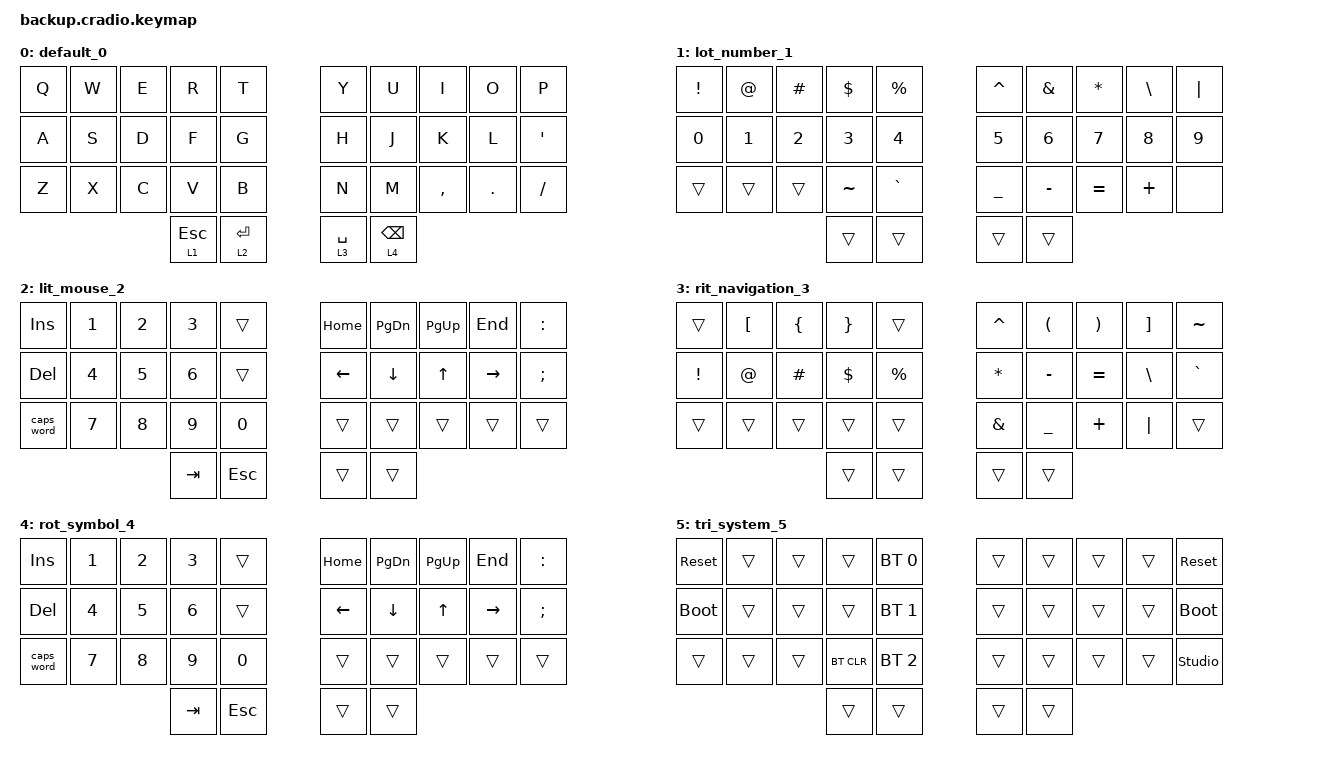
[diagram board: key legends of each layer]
// Copyright (c) 2022 The ZMK Contributors
// SPDX-License-Identifier: MIT

/*
Layers
Default
lot - number
lit - mouse
rit - navigation
rot - symbol
*/

#include <behaviors.dtsi>
#include <dt-bindings/zmk/keys.h>
#include <dt-bindings/zmk/bt.h>

// Home row mods macro
/* #define HRML(k1,k2,k3,k4) &ht LSHFT k1  &ht LALT  k2  &ht LCTRL k3  &ht LGUI  k4 */
/* #define HRMR(k1,k2,k3,k4) &ht RGUI  k1  &ht RCTRL k2  &ht RALT  k3  &ht RSHFT k4 */
#define HRML(k1,k2,k3,k4) &ht LGUI k1 &ht LALT k2  &ht LCTRL k3  &ht LSHFT k4
#define HRMR(k1,k2,k3,k4) &ht LGUI k1 &ht LALT k2  &ht LCTRL k3  &ht LSHFT k4

/ {
    combos {
        compatible = "zmk,combos";
        /* Brackets */
        left_square_bracket_combo {
            timeout-ms = <50>;
            key-positions = <6 7>;
            bindings = <&kp LBKT>;
        };
        left_bracket_combo {
            timeout-ms = <50>;
            key-positions = <16 17>;
            bindings = <&kp KP_LPAR>;
        };
        left_curly_bracket_combo {
            timeout-ms = <50>;
            key-positions = <26 27>;
            bindings = <&kp LBRC>;
        };
        left_angle_bracket_combo {
            timeout-ms = <50>;
            key-positions = <17 26>;
            bindings = <&kp LESS_THAN>;
        };

        right_square_bracket_combo {
            timeout-ms = <50>;
            key-positions = <7 8>;
            bindings = <&kp RBKT>;
        };
        right_bracket_combo {
            timeout-ms = <50>;
            key-positions = <17 18>;
            bindings = <&kp KP_RPAR>;
        };
        right_curly_bracket_combo {
            timeout-ms = <50>;
            key-positions = <27 28>;
            bindings = <&kp RBRC>;
        };
        right_angle_bracket_combo {
            timeout-ms = <50>;
            key-positions = <17 28>;
            bindings = <&kp LBRC>;
        };
        /* Other */
        esc_combo {
            timeout-ms = <50>;
            key-positions = <17 28>;
            bindings = <&kp LBRC>;
        };
        tab_combo {
            timeout-ms = <50>;
            key-positions = <17 28>;
            bindings = <&kp LBRC>;
        };

    };
    behaviors {
        ht: hold_tap {
            compatible = "zmk,behavior-hold-tap";
            #binding-cells = <2>;
            flavor = "tap-preferred";
            tapping-term-ms = <220>;
            quick-tap-ms = <150>;
            require-prior-idle-ms = <100>;
            bindings = <&kp>, <&kp>;
        };
        td_tab: tap_dance_0 {
            compatible = "zmk,behavior-tap-dance";
            #binding-cells = <0>;
            tapping-term-ms = <200>;
            bindings = <&kp V>, <&kp TAB>;
        };
    };

    conditional_layers {
        compatible = "zmk,conditional-layers";
        tri_system_5 { if-layers = <1 4>;
            then-layer = <5>;
        };
    };

            /* HRML(A,        S,         D,         F)     &kp G          &kp H      HRMR(J,        K,         L,        SQT) */
    keymap {
        compatible = "zmk,keymap";
        default_0 {
            bindings = <
        //╭──────────┬──────────┬──────────┬──────────┬──────────╮   ╭──────────┬──────────┬──────────┬──────────┬──────────╮
        //│  Q       │  W       │  E       │  R       │  T       │   │  Y       │  U       │  I       │  O       │  P       │
            &kp Q      &kp W      &kp E      &kp R      &kp T          &kp Y      &kp U      &kp I      &kp O      &kp P
        //├──────────┼──────────┼──────────┼──────────┼──────────┤   ├──────────┼──────────┼──────────┼──────────┼──────────┤
        //│  A       │  S       │  D       │  F       │  G       │   │  H       │  J       │  K       │  L       │ ' "      │
            &kp A      &kp S      &kp D      &kp F      &kp G          &kp H      &kp J      &kp K      &kp L      &kp SQT 
        //├──────────┼──────────┼──────────┼──────────┼──────────┤   ├──────────┼──────────┼──────────┼──────────┼──────────┤
        //│  Z       │  X       │  C       │  V       │  B       │   │  N       │  M       │ , <      │ . >      │ / ?      │
            &kp Z      &kp X      &kp C      &kp V      &kp B          &kp N      &kp M      &kp COMMA  &kp DOT    &kp FSLH
        //╰──────────┴──────────┴──────────┼──────────┼──────────┤   ├──────────┼──────────┼──────────┴──────────┴──────────╯
                                            &lt 1 ESC  &lt 2 ENTER    &lt 3 SPACE  &lt 4 BSPC
        //                                 ╰──────────┴──────────╯   ╰──────────┴──────────╯
            >;
        };

        lot_number_1 {
            bindings = <
        //╭──────────┬──────────┬──────────┬──────────┬──────────╮   ╭──────────┬──────────┬──────────┬──────────┬──────────╮
        //│  !       │  @       │  #       │  $       │  %       │   │  ^       │  &       │  *       │  \       │  |       │
            &kp EXCL   &kp AT     &kp HASH   &kp DLLR   &kp PRCNT      &kp CARET  &kp AMPS  &kp MULTIPLY &kp BSLH   &kp PIPE
        //├──────────┼──────────┼──────────┼──────────┼──────────┤   ├──────────┼──────────┼──────────┼──────────┼──────────┤
        //│  0       │  1       │  2       │  3       │  4       │   │  5       │  6       │  7       │  8       │  9       │
            &kp 0      &kp 1      &kp 2      &kp 3      &kp 4          &kp 5       &kp 6      &kp 7      &kp 8      &kp 9
        //├──────────┼──────────┼──────────┼──────────┼──────────┤   ├──────────┼──────────┼──────────┼──────────┼──────────┤
        //│          │          │          │ ~        │ `        │   │  _       │  -       │  =       │  +       │  XXX     │
            &trans     &trans     &trans     &kp TILDE    &kp GRAVE     &kp UNDER  &kp MINUS  &kp EQUAL  &kp PLUS   &none
        //╰──────────┴──────────┴──────────┼──────────┼──────────┤   ├──────────┼──────────┼──────────┴──────────┴──────────╯
                                             &trans     &trans         &trans     &trans
        //                                 ╰──────────┴──────────╯   ╰──────────┴──────────╯
            >;
        };


        lit_mouse_2 {
            bindings = <
        //╭──────────┬──────────┬──────────┬──────────┬──────────╮   ╭──────────┬──────────┬──────────┬──────────┬──────────╮
        //│ INSERT   │  1       │  2       │  3       │          │   │ HOME     │ PAGE DN  │ PAGE UP  │ END      │  :       │
            &kp INS    &kp N1     &kp N2     &kp N3     &trans         &kp HOME   &kp PG_DN  &kp PG_UP  &kp END    &kp COLON
        //├──────────┼──────────┼──────────┼──────────┼──────────┤   ├──────────┼──────────┼──────────┼──────────┼──────────┤
        //│ DELETE   │  4       │  5       │  6       │          │   │ LEFT     │ DOWN     │ UP       │ RIGHT    │  ;       │
            &kp DEL    &kp N4     &kp N5     &kp N6     &trans         &kp LEFT   &kp DOWN   &kp UP   &kp RIGHT   &kp SEMI
        //├──────────┼──────────┼──────────┼──────────┼──────────┤   ├──────────┼──────────┼──────────┼──────────┼──────────┤
        //│ CAPS     │  7       │  8       │  9       │  0       │   │          │          │          │          │          │
           &caps_word  &kp N7     &kp N8     &kp N9     &kp N0         &trans     &trans     &trans     &trans     &trans
        //╰──────────┴──────────┴──────────┼──────────┼──────────┤   ├──────────┼──────────┼──────────┴──────────┴──────────╯
                                             &kp TAB       &kp ESC        &trans     &trans
        //                                 ╰──────────┴──────────╯   ╰──────────┴──────────╯
            >;
        };

        rit_navigation_3{
            bindings = <
        //╭──────────┬──────────┬──────────┬──────────┬──────────╮   ╭──────────┬──────────┬──────────┬──────────┬──────────╮
        //│          │  [       │  {       │  }       │          │   │  ^       │  (       │  )       │  ]       │  ~       │
            &trans     &kp LBKT   &kp LBRC   &kp RBRC   &trans         &kp CARET  &kp LPAR   &kp RPAR   &kp RBKT   &kp TILDE
        //├──────────┼──────────┼──────────┼──────────┼──────────┤   ├──────────┼──────────┼──────────┼──────────┼──────────┤
        //│  !       │  @       │  #       │  $       │  %       │   │  *       │  -       │  =       │  \       │  `       │
            &kp EXCL   &kp AT     &kp HASH   &kp DLLR   &kp PRCNT      &kp ASTRK  &kp MINUS  &kp EQUAL  &kp BSLH   &kp GRAVE
        //├──────────┼──────────┼──────────┼──────────┼──────────┤   ├──────────┼──────────┼──────────┼──────────┼──────────┤
        //│          │          │          │          │          │   │  &       │  _       │  +       │  │       │          │
            &trans     &trans     &trans     &trans     &trans         &kp AMPS   &kp UNDER  &kp PLUS   &kp PIPE   &trans
        //╰──────────┴──────────┴──────────┼──────────┼──────────┤   ├──────────┼──────────┼──────────┴──────────┴──────────╯
                                             &trans     &trans         &trans     &trans
        //                                 ╰──────────┴──────────╯   ╰──────────┴──────────╯
            >;
        };



        rot_symbol_4{
            bindings = <
        //╭──────────┬──────────┬──────────┬──────────┬──────────╮   ╭──────────┬──────────┬──────────┬──────────┬──────────╮
        //│ INSERT   │  1       │  2       │  3       │          │   │ HOME     │ PAGE DN  │ PAGE UP  │ END      │  :       │
            &kp INS    &kp N1     &kp N2     &kp N3     &trans         &kp HOME   &kp PG_DN  &kp PG_UP  &kp END    &kp COLON
        //├──────────┼──────────┼──────────┼──────────┼──────────┤   ├──────────┼──────────┼──────────┼──────────┼──────────┤
        //│ DELETE   │  4       │  5       │  6       │          │   │ LEFT     │ DOWN     │ UP       │ RIGHT    │  ;       │
            &kp DEL    &kp N4     &kp N5     &kp N6     &trans         &kp LEFT   &kp DOWN   &kp UP   &kp RIGHT   &kp SEMI
        //├──────────┼──────────┼──────────┼──────────┼──────────┤   ├──────────┼──────────┼──────────┼──────────┼──────────┤
        //│ CAPS     │  7       │  8       │  9       │  0       │   │          │          │          │          │          │
           &caps_word  &kp N7     &kp N8     &kp N9     &kp N0         &trans     &trans     &trans     &trans     &trans
        //╰──────────┴──────────┴──────────┼──────────┼──────────┤   ├──────────┼──────────┼──────────┴──────────┴──────────╯
                                             &kp TAB       &kp ESC        &trans     &trans
        //                                 ╰──────────┴──────────╯   ╰──────────┴──────────╯
            >;
        };

        tri_system_5{
            bindings = <
        //╭──────────┬──────────┬──────────┬──────────┬──────────╮   ╭──────────┬──────────┬──────────┬──────────┬──────────╮
        //│ RESET    │          │          │          │PROFILE 0 │   │          │          │          │          │  RESET   │
           &sys_reset  &trans     &trans     &trans    &bt BT_SEL 0    &trans     &trans     &trans     &trans    &sys_reset
        //├──────────┼──────────┼──────────┼──────────┼──────────┤   ├──────────┼──────────┼──────────┼──────────┼──────────┤
        //│BOOTLOADER│          │          │          │PROFILE 1 │   │          │          │          │          │BOOTLOADER│
          &bootloader  &trans     &trans     &trans    &bt BT_SEL 1    &trans     &trans     &trans     &trans    &bootloader
        //├──────────┼──────────┼──────────┼──────────┼──────────┤   ├──────────┼──────────┼──────────┼──────────┼──────────┤
        //│          │          │          │ CLEAR BT │PROFILE 2 │   │          │          │          │          │          │
            &trans     &trans     &trans    &bt BT_CLR &bt BT_SEL 2    &trans     &trans     &trans     &trans     &studio_unlock
        //╰──────────┴──────────┴──────────┼──────────┼──────────┤   ├──────────┼──────────┼──────────┴──────────┴──────────╯
                                             &trans     &trans         &trans     &trans
        //                                 ╰──────────┴──────────╯   ╰──────────┴──────────╯
            >;
        };

    };
};
